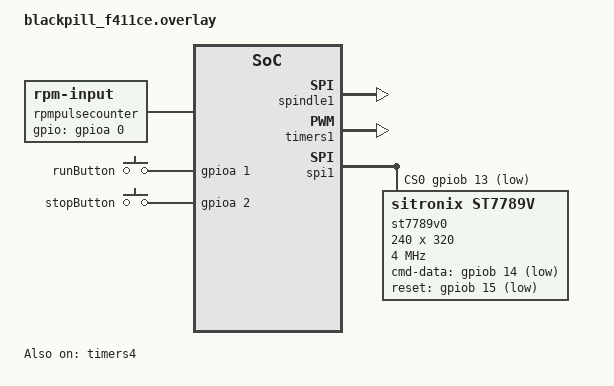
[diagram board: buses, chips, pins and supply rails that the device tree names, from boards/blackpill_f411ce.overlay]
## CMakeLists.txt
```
cmake_minimum_required(VERSION 3.13)
include(${CMAKE_HOME_DIRECTORY}/pico_sdk_import.cmake)

set(PICO_BOARD pico CACHE STRING "Board type")
project(SurfaceGrinderAtomaton C CXX ASM)
pico_sdk_init()

add_compile_options(
    ### Gnu/Clang C Options
    $<$<COMPILE_LANG_AND_ID:C,GNU>:-fdiagnostics-color=always>
    $<$<COMPILE_LANG_AND_ID:C,Clang>:-fcolor-diagnostics>
)

# Create an interface target to set system include directories for Pico SDK libraries
add_library(pico_system_include_dirs INTERFACE)
target_include_directories(pico_system_include_dirs SYSTEM INTERFACE ${PICO_INCLUDE_DIRS})

# Include directories for other Pico SDK libraries
# target_link_libraries(pico_system_include_dirs INTERFACE pico_stdlib hardware_pio hardware_gpio pico_multicore pico_stdio_usb pico_printf pico_async_context_threadsafe_background
# )

target_link_libraries(pico_system_include_dirs INTERFACE pico_stdlib hardware_pio hardware_gpio pico_multicore pico_printf pico_async_context_threadsafe_background
)

# Add subdirectories
add_subdirectory(src)

# Optionally add tests
option(BUILD_TESTS "Build tests" ON)
if (BUILD_TESTS)
    add_subdirectory(tests)
endif()

add_custom_command(
  OUTPUT ${CMAKE_SOURCE_DIR}/compile_commands.json
  COMMAND ${CMAKE_COMMAND} -E copy_if_different
  ${CMAKE_BINARY_DIR}/compile_commands.json
  ${CMAKE_SOURCE_DIR}/compile_commands.json
  DEPENDS ${CMAKE_BINARY_DIR}/compile_commands.json
  COMMENT "Copying compile_commands.json to project root"
)

# Create a custom target that always runs the above command
add_custom_target(copy_compile_commands ALL
  DEPENDS ${CMAKE_SOURCE_DIR}/compile_commands.json
)
```

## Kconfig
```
# menu "scroll to the end for LeadscrewWarrantyVoider ELS Options"
# endmenu
source "Kconfig.zephyr"

menu "LeadscrewWarrantyVoider ELS Options"

choice SPINDLE_ENCODER_TYPE
    prompt "Spindle Encoder Type"
    help
        Select the type of spindle encoder.

        "TEST": No encoder, built in pulse generator emitting test pulses
        "SDEC": SDEC (https://github.com/digiexchris/SDEC)
        "LS7366": LS7366 QEI chip

    default SPINDLE_ENCODER_TYPE_LS7366

    config SPINDLE_ENCODER_TYPE_TEST
        bool "TEST"

    config SPINDLE_ENCODER_TYPE_LS7366
        bool "LS7366"

    config SPINDLE_ENCODER_TYPE_SDEC
        bool "SDEC"

endchoice

menu "Board Specific GPIO Configuration"

# Utilize Zephyr's board definitions directly without redefining them

config BOARD_IS_RPI_PICO
    bool
    default y if BOARD_RPI_PICO
    default n

config BOARD_IS_STM32F411CE_BLACKPILL
    bool
    default y if BOARD_STM32F411CE_BLACKPILL
    default n

if BOARD_IS_RPI_PICO

choice
    prompt "Select GPIO port for encoder CS pin"
    default ENCODER_CS_GPIO_PORT_0

    config ENCODER_CS_GPIO_PORT_0
        bool "GPIO 0"

    config ENCODER_CS_GPIO_PORT_1
        bool "GPIO 1"

    # ... other GPIO options for RPi Pico

endchoice

endif # BOARD_IS_RPI_PICO

if BOARD_IS_STM32F411CE_BLACKPILL

choice
    prompt "Select GPIO Port for encoder CS pin"
    default ENCODER_CS_GPIO_PORT_A
    help
        GPIO port for encoder CS (i.e., on the STM32, if you wanted to choose PA4, select "GPIO Port A" here)

    config ENCODER_CS_GPIO_PORT_A
        bool "GPIO Port A"

    config ENCODER_CS_GPIO_PORT_B
        bool "GPIO Port B"

    config ENCODER_CS_GPIO_PORT_C
        bool "GPIO Port C"

    # ... other GPIO options for STM32F411CE Blackpill

endchoice

endif # BOARD_IS_STM32F411CE_BLACKPILL

endmenu

config ENCODER_CS_GPIO_PIN
    int "GPIO pin for encoder CS"
    default 4
    help
        GPIO pin for encoder CS (i.e., on the STM32, if you wanted to choose P4, select A in
        the port selection above, and type 4 here)

endmenu
```

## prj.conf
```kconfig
CONFIG_LOG=y
CONFIG_LOG_MODE_DEFERRED=y
CONFIG_LOG_RUNTIME_FILTERING=n
CONFIG_LOG_BUFFER_SIZE=2048
CONFIG_LOG_PRINTK=y
CONFIG_LOG_PROCESS_TRIGGER_THRESHOLD=0
CONFIG_CONSOLE=y
CONFIG_SHELL=y
CONFIG_LOG_BACKEND_UART=y
CONFIG_PRINTK=y
CONFIG_DEBUG_INFO=y
CONFIG_LOG_DEFAULT_LEVEL=3
# CONFIG_SENSOR_LOG_LEVEL_DBG=y

CONFIG_REQUIRES_FULL_LIBCPP=y

CONFIG_PWM=y

CONFIG_USB_DEVICE_STACK=y
CONFIG_USB_DEVICE_PRODUCT="Surface Grinder UART"
CONFIG_USB_DEVICE_PID=0x0004
CONFIG_USB_DEVICE_VID=0x2FE3
CONFIG_USB_DEVICE_INITIALIZE_AT_BOOT=n


CONFIG_LOG=y
CONFIG_USBD_LOG_LEVEL_WRN=y
CONFIG_UDC_DRIVER_LOG_LEVEL_WRN=y
CONFIG_USB_CDC_ACM_LOG_LEVEL_WRN=y

CONFIG_SERIAL=y
CONFIG_CONSOLE=y
CONFIG_UART_CONSOLE=y
CONFIG_UART_LINE_CTRL=y

CONFIG_LVGL=y

CONFIG_CPP=y
CONFIG_CPP_EXCEPTIONS=y
# CONFIG_REQUIRES_FULL_LIBCPP=y
CONFIG_STD_CPP14=y
CONFIG_STD_CPP17=y
CONFIG_STD_CPP20=y

CONFIG_NO_OPTIMIZATIONS=y
# CONFIG_EXTRA_EXCEPTION_INFO=y

CONFIG_ASSERT=y 
# CONFIG_NEWLIB_LIBC=y
CONFIG_INIT_STACKS=y
CONFIG_EXCEPTION_STACK_TRACE=y
CONFIG_DEBUG_INFO=y


CONFIG_STDOUT_CONSOLE=y

CONFIG_HEAP_MEM_POOL_SIZE=16384

CONFIG_MAIN_STACK_SIZE=4096
CONFIG_LOG=y
CONFIG_SHELL=y

CONFIG_LVGL=y
CONFIG_LV_Z_MEM_POOL_SIZE=49152
CONFIG_LV_Z_SHELL=y
CONFIG_LV_USE_MONKEY=y

CONFIG_DISPLAY=y
CONFIG_INPUT=y

CONFIG_LV_FONT_MONTSERRAT_12=y
CONFIG_LV_FONT_MONTSERRAT_14=y
CONFIG_LV_FONT_MONTSERRAT_16=y

# Benchmark Demo
CONFIG_LV_USE_FONT_COMPRESSED=y

CONFIG_NO_OPTIMIZATIONS=y
CONFIG_EXTRA_EXCEPTION_INFO=y

CONFIG_LOG_DEFAULT_LEVEL=3
```

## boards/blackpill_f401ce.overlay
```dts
/ {
    aliases {
        qdec0 = &qdec;
    };
};

&timers3 {
    status = "okay";

    qdec: qdec {
        status = "okay";
        pinctrl-0 = <&tim3_ch1_pa6 &tim3_ch2_pa7>;
        pinctrl-names = "default";
        st,input-polarity-inverted;
        st,input-filter-level = <FDIV32_N8>;
        st,counts-per-revolution = <16>;
    };
};

&gpioa {
    status = "okay";

    encoder_button: button {
        gpios = <0 GPIO_ACTIVE_LOW>; /* PA0, Active Low */
        interrupt-parent = <&exti>;
        gpio-hog;
    };
};
```

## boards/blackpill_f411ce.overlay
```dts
/ {
//USART1 = PA9, PA10
//SPI1 NSS = PA4/NC, SCK = PA5, MISO = PA6/NC, DIN = PA7, DC = PB14, RST = PB15, CS = PB13
//PWM PA8
//QDEC = PB6, PB7

    chosen {
	zephyr,display = &st7789v0;
    };

	rpmpulsecounter: rpmpulsecounter {
        compatible = "rpm-input";
        status = "okay";
        gpios = <&gpioa 0 GPIO_ACTIVE_HIGH>; /* PA0, Active High */
    };

	buttons {
		debounce-interval-ms = <50>;
		status = "okay";
		compatible = "gpio-keys";

		runButton: button_1 {
			status = "okay";
			
			gpios = <&gpioa 1 (GPIO_PULL_DOWN | GPIO_ACTIVE_HIGH) >;
			
			zephyr,code = <INPUT_KEY_1>;
			//zephyr,code = <BTN_0>;
		};

		stopButton: button_2 {
			status = "okay";
			
			gpios = <&gpioa 2 (GPIO_PULL_DOWN | GPIO_ACTIVE_HIGH) >;
			
			zephyr,code = <INPUT_KEY_2>;
			//zephyr,code = <BTN_0>;
		};

    };

    spindles {
        compatible = "generic-pwm";
        spindle1: spindle1 {
            
            status = "ok";
            pwms = <&spindlepwm1 1 PWM_HZ(40) PWM_POLARITY_NORMAL>;
            //pwms-names = "spindle1";
        };
    };

    aliases {
        qdec0 = &qdec;
        counter0 = &timers4;
        spindlepwm0 = &spindle1;
        //spindlepwm0 = &servo;
        eeprom0 = &flash0;
        led0 = &user_led;
        display0 = &st7789v0;
		runbutton0 = &runButton;
		stopbutton0 = &stopButton;
    };

};

&timers4 {
    status = "okay";

    counter {
		status = "okay";
	};

    qdec: qdec {
        status = "okay";
        pinctrl-0 = <&tim4_ch1_pb6 &tim4_ch2_pb7>;
        pinctrl-names = "default";
        st,input-polarity-inverted;
        st,input-filter-level = <FDIV32_N8>;
        st,counts-per-revolution = <720>;
    };
};

&flash0 {
	partitions {
		/* Set 3KB of storage at the end of 128KB flash */
		storage_partition: partition@1f400 {
			label = "storage";
			reg = <0x0001f400 DT_SIZE_K(3)>;
		};
	};
};

&timers1 {
	status = "okay";
    st,prescaler = <64>;
	spindlepwm1: pwm {
		status = "okay";
        //pwm-cells = <3>;
        // compatible = "st,stm32-pwm";
		pinctrl-0 = <&tim1_ch1_pa8>;
		pinctrl-names = "default";
        
	};
};
	

//usart tx = a9 default

// &usart1 {
// 	pinctrl-0 = <&usart1_tx_pb6 &usart1_rx_pb7>;
// 	pinctrl-names = "default";
// 	status = "okay";
// 	current-speed = <115200>;
// };

	



&spi1 {
	status = "okay";
	cs-gpios = <&gpiob 13 GPIO_ACTIVE_LOW>;	/* PB13 */

    //pinctrl-0 = <&spi1_sck_pb3 &spi1_mosi_pa7>;

	st7789v0:st7789v@0 { //DIN = PA7 
		compatible = "sitronix,st7789v";
		spi-max-frequency = <4000000>;
		reg = <0>;
		cmd-data-gpios = <&gpiob 14 GPIO_ACTIVE_LOW>; /* PB14 */
		reset-gpios = <&gpiob 15 GPIO_ACTIVE_LOW>; /* PB15 */
		width = <240>;
		height = <320>;
		x-offset = <0>;
		y-offset = <0>;
		vcom = <0x19>;
		gctrl = <0x35>;
		vrhs = <0x12>;
		vdvs = <0x20>;
		mdac = <0x00>;
		gamma = <0x01>;
		colmod = <0x05>;
		lcm = <0x2c>;
		porch-param = [0c 0c 00 33 33];
		cmd2en-param = [5a 69 02 01];
		pwctrl1-param = [a4 a1];
		pvgam-param = [D0 04 0D 11 13 2B 3F 54 4C 18 0D 0B 1F 23];
		nvgam-param = [D0 04 0C 11 13 2C 3F 44 51 2F 1F 1F 20 23];
		ram-param = [00 F0];
		rgb-param = [CD 08 14];
	};
};

//&spi1 {
//	pinctrl-0 = <&spi1_sck_pa5 &spi1_nss_pa4
//		     &spi1_miso_pa6 &spi1_mosi_pa7>;
//	pinctrl-names = "default";
//	status = "okay";
//};
```

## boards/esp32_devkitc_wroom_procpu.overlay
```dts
#include <zephyr/dt-bindings/display/ili9xxx.h>

/ {
	chosen {
		//zephyr,display = &adafruit_2_8_tft_touch_v2_ili9340;
		zephyr,display = &ili9341;
		// zephyr,sdhc = &sdhc1;
	};

	aliases {
		// sdhc0 = &sdhc1;
	};

	mipi_dbi {
		compatible = "zephyr,mipi-dbi-spi";
		dc-gpios = <&gpio0 2 GPIO_ACTIVE_HIGH>;
		// reset-gpios = <&gpio0 18 GPIO_ACTIVE_LOW>;
		spi-dev = <&spi2>;
		write-only;
		#address-cells = <1>;
		#size-cells = <0>;

		ili9341: ili9341@0 {
			compatible = "ilitek,ili9341";
			mipi-max-frequency = <25000000>;
			reg = <0>;
			pixel-format = <ILI9XXX_PIXEL_FORMAT_RGB888>;
			rotation = <90>;
			width = <240>;
			height = <320>;
		};
	};

	// lvgl_pointer {
	// 	compatible = "zephyr,lvgl-pointer-input";
	// 	input = <&ft5336_adafruit_2_8_tft_touch_v2>;
	// 	swap-xy;
	// 	invert-x;
	// 	invert-y;
	// };

    //the shield is
//     #define TFT_MISO 12
// #define TFT_MOSI 13
// #define TFT_SCLK 14
// #define TFT_CS   15  // Chip select control pin
// #define TFT_DC    2  // Data Command control pin
// //#define TFT_RST   -1  // Reset pin (could connect to RST pin)
// #define TFT_RST  -1 12  // Set TFT_RST to -1 if display RESET is connected to ESP32 board RST

// #define TOUCH_CS 33     // Chip select pin (T_CS) of touch screen

// #define TFT_BL   21            // LED back-light control pin
// #define TFT_BACKLIGHT_ON HIGH  // Level to turn ON back-light (HIGH or LOW)

// #define SPI_FREQUENCY  55000000 // STM32 SPI1 only (SPI2 maximum is 27MHz)
// // #define SPI_FREQUENCY  80000000

// // Optional reduced SPI frequency for reading TFT
// #define SPI_READ_FREQUENCY  20000000

// // The XPT2046 requires a lower SPI clock rate of 2.5MHz so we define that here:
// #define SPI_TOUCH_FREQUENCY  2500000

// // The ESP32 has 2 free SPI ports i.e. VSPI and HSPI, the VSPI is the default.
// // If the VSPI port is in use and pins are not accessible (e.g. TTGO T-Beam)
// // then uncomment the following line:
// #define USE_HSPI_PORT

	// adafruit_2_8_tft_touch_v2_mipi_dbi {
	// 	compatible = "zephyr,mipi-dbi-spi";
	// 	spi-dev = <&spi2>;
	// 	dc-gpios = <&gpio0 2 GPIO_ACTIVE_HIGH>;
	// 	write-only;
	// 	#address-cells = <1>;
	// 	#size-cells = <0>;

	// 	adafruit_2_8_tft_touch_v2_ili9340: ili9340@0 {
	// 		compatible = "ilitek,ili9340";
	// 		mipi-max-frequency = <15151515>;
	// 		reg = <0>;
	// 		width = <240>;
	// 		height = <320>;
	// 		pixel-format = <ILI9XXX_PIXEL_FORMAT_RGB888>;
	// 		rotation = <90>;
	// 		frmctr1 = [00 18];
	// 		pwctrl1 = [23 00];
	// 		vmctrl1 = [3e 28];
	// 		vmctrl2 = [86];
	// 		pgamctrl = [0f 31 2b 0c 0e 08 4e f1 37 07 10 03 0e 09 00];
	// 		ngamctrl = [00 0e 14 03 11 07 31 c1 48 08 0f 0c 31 36 0f];
	// 	};
	// };
};

&gpio0 {
    status = "okay";
    tft_backlight: tft-backlight {
        gpios = <21 (GPIO_ACTIVE_HIGH | GPIO_OPEN_DRAIN | GPIO_PULL_UP)>;
        output-low;
        gpio-hog;
    };
};

&gpio0 {
	status = "okay";

	/* FIXME: should be part of the display node */
	lcd-backlight {
		gpio-hog;
		gpios = <5 GPIO_ACTIVE_HIGH>;
		output-low;
	};
};

&spi2 {
	#address-cells = <1>;
	#size-cells = <0>;
	status = "okay";
	pinctrl-0 = <&spim2_default>;
	pinctrl-names = "default";
};

// &spi2 {
// 	status = "okay";
// 	cs-gpios = <&gpio0 15 GPIO_ACTIVE_LOW>,	/* D10 */
// 		   <&gpio0 33 GPIO_ACTIVE_LOW>;	/* D04 */

// 	adafruit_2_8_tft_touch_v2_sdhc: sdhc@1 {
// 		compatible = "zephyr,sdhc-spi-slot";
// 		reg = <1>;
// 		status = "okay";
// 		spi-max-frequency = <24000000>;
// 		mmc {
// 			compatible = "zephyr,sdmmc-disk";
// 			status = "okay";
// 		};
// 	};
// };

// &sdhc {
// 	sdhc1: sdhc@1 {
// 		status = "okay";

// 		pinctrl-0 = <&sdhc0_default>;
// 		pinctrl-names = "default";
// 		power-delay-ms = <100>;
// 		max-bus-freq = <52000000>;
// 		bus-width = <4>;

// 		clk-pin = <14>;
// 		cmd-pin = <15>;
// 		d0-pin = <2>;
// 		d1-pin = <4>;
// 		d2-pin = <12>;
// 		d3-pin = <13>;

// 		mmc {
// 			compatible = "zephyr,sdmmc-disk";
// 			status = "okay";
// 		};
// 	};
// };


    // &spim2_default { //default esp32
    //     group1 {
    //         pinmux = <SPIM2_MISO_GPIO16>,
    //             <SPIM2_SCLK_GPIO14>,
    //             <SPIM2_CSEL_GPIO15>;
    //     };
    //     group2 {
    //         pinmux = <SPIM2_MOSI_GPIO13>;
    //         output-low;
    //     };
    // };

// &i2c0 {
// 	ft5336_adafruit_2_8_tft_touch_v2: ft5336@38 {
// 		compatible = "focaltech,ft5336";
// 		reg = <0x38>;
// 		/* Uncomment if IRQ line is available (requires to solder jumper) */
// 		/* int-gpios = <&arduino_header 13 GPIO_ACTIVE_LOW>; */ /* D7 */
// 	};
// };
```

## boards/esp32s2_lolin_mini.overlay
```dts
/*
 * Pins defined in esp32-arduino for the lotlin-s2-mini

 
// Default USB Settings
#define USB_VID          0x303a
#define USB_PID          0x80C2
#define USB_MANUFACTURER "WEMOS.CC"
#define USB_PRODUCT      "LOLIN-S2-MINI"
#define USB_SERIAL       "0"

// Default USB FirmwareMSC Settings
#define USB_FW_MSC_VENDOR_ID        "ESP32-S2"      //max 8 chars
#define USB_FW_MSC_PRODUCT_ID       "Firmware MSC"  //max 16 chars
#define USB_FW_MSC_PRODUCT_REVISION "1.23"          //max 4 chars
#define USB_FW_MSC_VOLUME_NAME      "S2-Firmware"   //max 11 chars
#define USB_FW_MSC_SERIAL_NUMBER    0x00000000

static const uint8_t LED_BUILTIN = 15;
#define BUILTIN_LED LED_BUILTIN  // backward compatibility
#define LED_BUILTIN LED_BUILTIN  // allow testing #ifdef LED_BUILTIN

static const uint8_t TX = 39;
static const uint8_t RX = 37;

static const uint8_t SDA = 33;
static const uint8_t SCL = 35;

static const uint8_t SS = 12;
static const uint8_t MOSI = 11;
static const uint8_t MISO = 9;
static const uint8_t SCK = 7;

static const uint8_t A0 = 1;
static const uint8_t A1 = 2;
static const uint8_t A2 = 3;
static const uint8_t A3 = 4;
static const uint8_t A4 = 5;
static const uint8_t A5 = 6;
static const uint8_t A6 = 7;
static const uint8_t A7 = 8;
static const uint8_t A8 = 9;
static const uint8_t A9 = 10;
static const uint8_t A10 = 11;
static const uint8_t A11 = 12;
static const uint8_t A12 = 13;
static const uint8_t A13 = 14;
static const uint8_t A14 = 15;
static const uint8_t A15 = 16;
static const uint8_t A16 = 17;
static const uint8_t A17 = 18;
static const uint8_t A18 = 19;
static const uint8_t A19 = 20;

static const uint8_t T1 = 1;
static const uint8_t T2 = 2;
static const uint8_t T3 = 3;
static const uint8_t T4 = 4;
static const uint8_t T5 = 5;
static const uint8_t T6 = 6;
static const uint8_t T7 = 7;
static const uint8_t T8 = 8;
static const uint8_t T9 = 9;
static const uint8_t T10 = 10;
static const uint8_t T11 = 11;
static const uint8_t T12 = 12;
static const uint8_t T13 = 13;
static const uint8_t T14 = 14;

static const uint8_t DAC1 = 17;
static const uint8_t DAC2 = 18;
 */

/ {
	aliases {
		qdec0 = &pcnt;
	};


};

&pinctrl {
	pcnt_default: pcnt_default {
		group1 {
			pinmux = <PCNT0_CH0SIG_GPIO35>,
				<PCNT0_CH0CTRL_GPIO36>;
			bias-pull-up;
		};
	};
};

&pcnt {
	pinctrl-0 = <&pcnt_default>;
	pinctrl-names = "default";
	status = "okay";
	#address-cells = <1>;
	#size-cells = <0>;
	unit0@0 {
		reg = <0>;
		#address-cells = <1>;
		#size-cells = <0>;
		filter = <100>;
		channelA@0 {
			reg = <0>;
			sig-pos-mode = <2>;
			sig-neg-mode = <1>;
			ctrl-h-mode = <0>;
			ctrl-l-mode = <1>;
		};
	};
};


/ {
	chosen {
		zephyr,display = &st7789v0;
	};
};


/* arduino defaults for the st7789v 
ESP32S2 Arduino function
9 D8 ST7789V Reset
10 D9 ST7789V DC
11 D10 SPI SS
12 D11 SPI MOSI
13 D12 SPI MISO
14 D13 SPI SCK

OR
1 D2 DC
2 D4 Reset
16 D15 CS
19 D18 SCK
24 D23 SDA


working on esp32s2
#define TFT_CS   16  // Chip select control pin
#define TFT_DC    10  // Data Command control pin
#define TFT_RST   9  // Reset pin (could connect to RST pin)
#define TFT_MOSI 11  // Data out
#define TFT_SCLK 13  // Clock out


*/
&spi2 {
    status = "okay";
    cs-gpios = <&gpio 16 GPIO_ACTIVE_LOW>;    /* Example GPIO number for CS, originally GPIO 15 if using default */

	st7789v0:st7789v@0 { //DIN = 13  SCK = 14
		compatible = "sitronix,st7789v";
		spi-max-frequency = <500000>;
		reg = <0>;
        cmd-data-gpios = <&gpio 10 GPIO_ACTIVE_LOW>;  /* Example GPIO number for D/C, GPIO 16 in this case */
        reset-gpios = <&gpio 9 GPIO_ACTIVE_LOW>;    /* Example GPIO number for Reset, GPIO 14 in this case */
        width = <240>;
		height = <320>;
		x-offset = <0>;
		y-offset = <0>;
		vcom = <0x19>;
		gctrl = <0x35>;
		vrhs = <0x12>;
		vdvs = <0x20>;
		mdac = <0x00>;
		gamma = <0x01>;
		colmod = <0x05>;
		lcm = <0x2c>;
		porch-param = [0c 0c 00 33 33];
		cmd2en-param = [5a 69 02 01];
		pwctrl1-param = [a4 a1];
		pvgam-param = [D0 04 0D 11 13 2B 3F 54 4C 18 0D 0B 1F 23];
		nvgam-param = [D0 04 0C 11 13 2C 3F 44 51 2F 1F 1F 20 23];
		ram-param = [00 F0];
		rgb-param = [CD 08 14];
    };
};
```

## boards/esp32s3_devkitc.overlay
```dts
/*
 * Pins defined in esp32-arduino for the lotlin-s2-mini

 
// Default USB Settings
#define USB_VID          0x303a
#define USB_PID          0x80C2
#define USB_MANUFACTURER "WEMOS.CC"
#define USB_PRODUCT      "LOLIN-S2-MINI"
#define USB_SERIAL       "0"

// Default USB FirmwareMSC Settings
#define USB_FW_MSC_VENDOR_ID        "ESP32-S2"      //max 8 chars
#define USB_FW_MSC_PRODUCT_ID       "Firmware MSC"  //max 16 chars
#define USB_FW_MSC_PRODUCT_REVISION "1.23"          //max 4 chars
#define USB_FW_MSC_VOLUME_NAME      "S2-Firmware"   //max 11 chars
#define USB_FW_MSC_SERIAL_NUMBER    0x00000000

static const uint8_t LED_BUILTIN = 15;
#define BUILTIN_LED LED_BUILTIN  // backward compatibility
#define LED_BUILTIN LED_BUILTIN  // allow testing #ifdef LED_BUILTIN

static const uint8_t TX = 39;
static const uint8_t RX = 37;

static const uint8_t SDA = 33;
static const uint8_t SCL = 35;

static const uint8_t SS = 12;
static const uint8_t MOSI = 11;
static const uint8_t MISO = 9;
static const uint8_t SCK = 7;

static const uint8_t A0 = 1;
static const uint8_t A1 = 2;
static const uint8_t A2 = 3;
static const uint8_t A3 = 4;
static const uint8_t A4 = 5;
static const uint8_t A5 = 6;
static const uint8_t A6 = 7;
static const uint8_t A7 = 8;
static const uint8_t A8 = 9;
static const uint8_t A9 = 10;
static const uint8_t A10 = 11;
static const uint8_t A11 = 12;
static const uint8_t A12 = 13;
static const uint8_t A13 = 14;
static const uint8_t A14 = 15;
static const uint8_t A15 = 16;
static const uint8_t A16 = 17;
static const uint8_t A17 = 18;
static const uint8_t A18 = 19;
static const uint8_t A19 = 20;

static const uint8_t T1 = 1;
static const uint8_t T2 = 2;
static const uint8_t T3 = 3;
static const uint8_t T4 = 4;
static const uint8_t T5 = 5;
static const uint8_t T6 = 6;
static const uint8_t T7 = 7;
static const uint8_t T8 = 8;
static const uint8_t T9 = 9;
static const uint8_t T10 = 10;
static const uint8_t T11 = 11;
static const uint8_t T12 = 12;
static const uint8_t T13 = 13;
static const uint8_t T14 = 14;

static const uint8_t DAC1 = 17;
static const uint8_t DAC2 = 18;
 */

/ {
	aliases {
		qdec0 = &pcnt;
        display0 = &st7789v0;
	};


};

&pinctrl {
	pcnt_default: pcnt_default {
		group1 {
			pinmux = <PCNT0_CH0SIG_GPIO35>,
				<PCNT0_CH0CTRL_GPIO36>;
			bias-pull-up;
		};

		group2 {
			pinmux = <PCNT0_CH1SIG_GPIO34>,
				<PCNT0_CH1CTRL_GPIO37>;
			bias-pull-up;
		};
	};
};

&pcnt {
	pinctrl-0 = <&pcnt_default>;
	pinctrl-names = "default";
	status = "okay";
	#address-cells = <1>;
	#size-cells = <0>;
	unit0@0 {
		reg = <0>;
		#address-cells = <1>;
		#size-cells = <0>;
		filter = <100>;
		channelA@0 {
			reg = <0>;
			sig-pos-mode = <2>;
			sig-neg-mode = <1>;
			ctrl-h-mode = <0>;
			ctrl-l-mode = <1>;
		};
	};
};


/ {
	chosen {
		zephyr,display = &st7789v0;
	};
};


/* arduino defaults for the st7789v 
ESP32S2 Arduino function
9 D8 ST7789V Reset
10 D9 ST7789V DC
11 D10 SPI SS
12 D11 SPI MOSI
13 D12 SPI MISO
14 D13 SPI SCK

OR
1 D2 DC
2 D4 Reset
16 D15 CS
19 D18 SCK
24 D23 SDA


working on esp32s2
#define TFT_CS   16  // Chip select control pin
#define TFT_DC    10  // Data Command control pin
#define TFT_RST   9  // Reset pin (could connect to RST pin)
#define TFT_MOSI 11  // Data out
#define TFT_SCLK 13  // Clock out


*/
&spi2 {
    status = "okay";
    cs-gpios = <&gpio 16 GPIO_ACTIVE_LOW>;    /* Example GPIO number for CS, originally GPIO 15 if using default */
    pinctrl-0 = <&spim2_default>;
	st7789v0:st7789v@0 { //DIN = 13  SCK = 14
		compatible = "sitronix,st7789v";
		spi-max-frequency = <500000>;
		reg = <0>;
        cmd-data-gpios = <&gpio 10 GPIO_ACTIVE_LOW>;  /* Example GPIO number for D/C, GPIO 16 in this case */
        reset-gpios = <&gpio 9 GPIO_ACTIVE_LOW>;    /* Example GPIO number for Reset, GPIO 14 in this case */
        width = <240>;
		height = <320>;
		x-offset = <0>;
		y-offset = <0>;
		vcom = <0x19>;
		gctrl = <0x35>;
		vrhs = <0x12>;
		vdvs = <0x20>;
		mdac = <0x00>;
		gamma = <0x01>;
		colmod = <0x05>;
		lcm = <0x2c>;
		porch-param = [0c 0c 00 33 33];
		cmd2en-param = [5a 69 02 01];
		pwctrl1-param = [a4 a1];
		pvgam-param = [D0 04 0D 11 13 2B 3F 54 4C 18 0D 0B 1F 23];
		nvgam-param = [D0 04 0C 11 13 2C 3F 44 51 2F 1F 1F 20 23];
		ram-param = [00 F0];
		rgb-param = [CD 08 14];
    };
};
```

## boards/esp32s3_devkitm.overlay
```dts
/ {
	aliases {
		qdec0 = &pcnt;
        display0 = &st7789v0;
	};


};

&pinctrl {
	pcnt_default: pcnt_default {
		group1 {
			pinmux = <PCNT0_CH0SIG_GPIO35>,
				<PCNT0_CH0CTRL_GPIO36>;
			bias-pull-up;
		};

		group2 {
			pinmux = <PCNT0_CH1SIG_GPIO34>,
				<PCNT0_CH1CTRL_GPIO37>;
			bias-pull-up;
		};
	};
};

&pcnt {
	pinctrl-0 = <&pcnt_default>;
	pinctrl-names = "default";
	status = "okay";
	#address-cells = <1>;
	#size-cells = <0>;
	unit0@0 {
		reg = <0>;
		#address-cells = <1>;
		#size-cells = <0>;
		filter = <100>;
		channelA@0 {
			reg = <0>;
			sig-pos-mode = <2>;
			sig-neg-mode = <1>;
			ctrl-h-mode = <0>;
			ctrl-l-mode = <1>;
		};
	};
};


/ {
	chosen {
		zephyr,display = &st7789v0;
	};
};


/* arduino defaults for the st7789v 
ESP32S2 Arduino function
9 D8 ST7789V Reset
10 D9 ST7789V DC
11 D10 SPI SS
12 D11 SPI MOSI
13 D12 SPI MISO
14 D13 SPI SCK

OR
1 D2 DC
2 D4 Reset
16 D15 CS
19 D18 SCK
24 D23 SDA


working on esp32s2
#define TFT_CS   16  // Chip select control pin
#define TFT_DC    10  // Data Command control pin
#define TFT_RST   9  // Reset pin (could connect to RST pin)
#define TFT_MOSI 11  // Data out
#define TFT_SCLK 13  // Clock out


*/
&spi2 {
    status = "okay";
    cs-gpios = <&gpio 16 GPIO_ACTIVE_LOW>;    /* Example GPIO number for CS, originally GPIO 15 if using default */
    pinctrl-0 = <&spim2_default>;
	st7789v0:st7789v@0 { //DIN = 13  SCK = 14
		compatible = "sitronix,st7789v";
		spi-max-frequency = <500000>;
		reg = <0>;
        cmd-data-gpios = <&gpio 10 GPIO_ACTIVE_LOW>;  /* Example GPIO number for D/C, GPIO 16 in this case */
        reset-gpios = <&gpio 9 GPIO_ACTIVE_LOW>;    /* Example GPIO number for Reset, GPIO 14 in this case */
        width = <240>;
		height = <320>;
		x-offset = <0>;
		y-offset = <0>;
		vcom = <0x19>;
		gctrl = <0x35>;
		vrhs = <0x12>;
		vdvs = <0x20>;
		mdac = <0x00>;
		gamma = <0x01>;
		colmod = <0x05>;
		lcm = <0x2c>;
		porch-param = [0c 0c 00 33 33];
		cmd2en-param = [5a 69 02 01];
		pwctrl1-param = [a4 a1];
		pvgam-param = [D0 04 0D 11 13 2B 3F 54 4C 18 0D 0B 1F 23];
		nvgam-param = [D0 04 0C 11 13 2C 3F 44 51 2F 1F 1F 20 23];
		ram-param = [00 F0];
		rgb-param = [CD 08 14];
    };
};
```

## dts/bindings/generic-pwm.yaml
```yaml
# Copyright (c) 2023 Libre Solar Technologies GmbH
# SPDX-License-Identifier: Apache-2.0

description: PWM output

compatible: "generic-pwm"

child-binding:
  description: PWM child node
  properties:
    pwms:
      required: true
      type: phandle-array
      description: |
        Reference to a PWM instance.

pwms-cells:
  - channel
  - period
  - flags
```

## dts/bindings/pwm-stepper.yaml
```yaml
# dts/bindings/stepper_motor.yaml
description: Stepper motor configuration
compatible: "VoidItsWarranty,stepper-motor"

properties:
  step-gpios:
    required: true
    type: phandle-array
    description: GPIO device for direction signal
  dir-gpios:
    required: true
    type: phandle-array
    description: GPIO device for direction signal
  enable-gpios:
    required: true
    type: phandle-array
    description: GPIO device for enable signal
  max-speed:
    required: true
    type: int
    description: Maximum speed in steps per second
  max-acceleration:
    required: true
    type: int
    description: Maximum acceleration in steps per second squared
  max-deceleration:
    required: true
    type: int
    description: Maximum deceleration in steps per second squared
  enable-polarity:
    required: true
    type: int
    description: Polarity of the enable signal
  dir-polarity:
    required: true
    type: int
    description: Polarity of the direction signal
```

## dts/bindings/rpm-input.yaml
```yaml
# Copyright (c) 2023 Libre Solar Technologies GmbH
# SPDX-License-Identifier: Apache-2.0

description: GPIO pin to accept RPM input pulses

compatible: "rpm-input"

properties:
  gpios:
    type: phandle-array
    required: true
    description: |
      The GPIO connected to the 3v3 RPM pulse.
```

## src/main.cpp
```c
#include "Display.hpp"
#include "Enum.hpp"
#include "config.hpp"
#include <zephyr/kernel.h>
#include <zephyr/logging/log.h>

#include "Motion/XAxis.hpp"
#include <zephyr/drivers/uart.h>
#include <zephyr/usb/usb_device.h>
#include <zephyr/usb/usbd.h>

LOG_MODULE_REGISTER(main);

const Display *myDisplay;
const XAxis *myXAxis;

BUILD_ASSERT(DT_NODE_HAS_COMPAT(DT_CHOSEN(zephyr_console), zephyr_cdc_acm_uart),
			 "Console device is not ACM CDC UART device");

int main(void)
{

	const struct device *const dev = DEVICE_DT_GET(DT_CHOSEN(zephyr_console));
	uint32_t dtr = 0;

	if (usb_enable(NULL))
	{
		return 0;
	}

	/* Poll if the DTR flag was set */
	while (!dtr)
	{
		uart_line_ctrl_get(dev, UART_LINE_CTRL_DTR, &dtr);
		/* Give CPU resources to low priority threads. */
		k_sleep(K_MSEC(100));
	}

	// while (1)
	// {
	// 	printk("Hello World! %s\n", CONFIG_ARCH);
	// 	k_sleep(K_SECONDS(1));
	// }

	LOG_INF("Booting %s\n", CONFIG_BOARD);

	myXAxis = new XAxis();

	LOG_INF("XAxis initialized\n");

	myDisplay = new Display();

	LOG_INF("Display initialized\n");

	LOG_INF("Boot Complete\n");

	while (1)
	{
		k_sleep(K_FOREVER);
	}
}
```

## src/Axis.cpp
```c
#include "Axis.hpp"
#include "Enum.hpp"
#include "FreeRTOS.h"
#include "config.hpp"
#include "pico/mutex.h"
#include "pico/stdlib.h"
#include "portmacro.h"
#include <cmath>
#include <semphr.h>
#include <stdio.h>

Axis::Axis(Stepper *aStepper, AxisLabel anAxisLabel)
{
	myStepper = aStepper;
	myAxisLabel = anAxisLabel;

	myCommandQueue = xQueueCreate(10, sizeof(AxisCommand *));
	myStateMutex = xSemaphoreCreateMutex();
	myQueueIsProcessing = xSemaphoreCreateBinary();
	myDirectionMutex = xSemaphoreCreateMutex();
	configASSERT(myStateMutex);
	configASSERT(myDirectionMutex);
	configASSERT(myQueueIsProcessing);

	BaseType_t status = xTaskCreate(privProcessCommandQueue, "AxisCommandThread", 2048, this, 1, &myCommandQueueTask);

	configASSERT(status == pdPASS);

	xSemaphoreGive(myQueueIsProcessing); // let the first consumer add something to the empty queue
	xSemaphoreGive(myStateMutex);
	xSemaphoreGive(myDirectionMutex);
}

int32_t Axis::GetPosition()
{
	return myPosition;
}

void Axis::SetMinStop(int32_t aMinStop)
{
	myMinStop = aMinStop;
}

int32_t Axis::GetMinStop()
{
	return myMinStop;
}

void Axis::SetMaxStop(int32_t aMaxStop)
{
	myMaxStop = aMaxStop;
}

int32_t Axis::GetMaxStop()
{
	return myMaxStop;
}

void Axis::SetPosition(int32_t aPosition)
{
	// myStepper->SetPosition(aPosition);
}

AxisDirection Axis::GetDirection()
{
	AxisDirection direction;
	xSemaphoreTake(myDirectionMutex, portMAX_DELAY);

	direction = myDirection;
	xSemaphoreGive(myDirectionMutex);
	return direction;
}

AxisState Axis::GetState()
{
	uint32_t timeout = 10 * portTICK_PERIOD_MS;
	AxisState state;
	if (xSemaphoreTake(myStateMutex, timeout) != pdPASS)
	{
		return AxisState::LOCKED;
	}
	state = myState;
	xSemaphoreGive(myStateMutex);
	return myState;
}

AxisStop Axis::IsAtStop()
{
	if (myPosition <= myMinStop)
	{
		return AxisStop::MIN;
	}
	else if (myPosition >= myMaxStop)
	{
		return AxisStop::MAX;
	}
	else
	{
		return AxisStop::NEITHER;
	}
}

AxisDirection Axis::GetPreviousDirection()
{
	AxisDirection direction;
	xSemaphoreTake(myDirectionMutex, portMAX_DELAY);
	direction = myPreviousDirection;
	xSemaphoreGive(myDirectionMutex);
	return direction;
}

void Axis::Move(uint32_t aDistance, uint16_t aSpeed)
{
	AxisMoveCommand *cmd = new AxisMoveCommand(aDistance, aSpeed);

	if (xQueueSend(myCommandQueue, &cmd, portMAX_DELAY) != pdPASS)
	{
		printf("Failed to send move command to queue\n");
	}

	if (PRINTF_AXIS_DEBUG)
	{
		printf("Axis %d: Move %d queued\n", myAxisLabel, aDistance);
	}
}

void Axis::SetDirection(AxisDirection aDirection)
{
	AxisSetDirectionCommand *cmd = new AxisSetDirectionCommand(aDirection);
	if (xQueueSend(myCommandQueue, &cmd, portMAX_DELAY) != pdPASS)
	{
		printf("Failed to send set direction command to queue\n");
	}
	if (PRINTF_AXIS_DEBUG)
	{
		printf("Axis %d: SetDirection %d queued\n", myAxisLabel, aDirection);
	}
}

uint8_t Axis::GetQueueSize()
{
	return uxQueueMessagesWaiting(myCommandQueue);
}

bool Axis::IsMovementComplete(TickType_t aTimeout)
{
	if (uxQueueMessagesWaiting(myCommandQueue) == 0)
	{
		return true;
	}

	BaseType_t status = xQueueSemaphoreTake(myQueueIsProcessing, aTimeout);

	if (status == pdTRUE)
	{
		return true;
	}
	else
	{
		return false;
	}
}

void Axis::privProcessCommandQueue(void *pvParameters)
{
	printf("Axis Command Thread Started\n");
	Axis *axis = static_cast<Axis *>(pvParameters);
	while (true)
	{
		AxisCommand *command;
		if (xQueueReceive(axis->myCommandQueue, &command, portMAX_DELAY) == pdTRUE)
		{
			switch (command->cmd)
			{
			case AxisCommandName::MOVE:
			{
				AxisMoveCommand *moveCommand = static_cast<AxisMoveCommand *>(command);
				axis->privMove(moveCommand->distance, moveCommand->speed);
				break;
			}
			case AxisCommandName::SET_DIRECTION:
			{
				AxisSetDirectionCommand *setDirectionCommand = static_cast<AxisSetDirectionCommand *>(command);
				axis->privSetDirection(setDirectionCommand->direction);
				break;
			}
			case AxisCommandName::WAIT:
			{
				xSemaphoreTake(axis->myStateMutex, portMAX_DELAY);
				axis->myState = AxisState::WAITING;
				xSemaphoreGive(axis->myStateMutex);
				AxisWaitCommand *waitCommand = static_cast<AxisWaitCommand *>(command);
				float period = portTICK_PERIOD_MS;
				if (period == 0)
				{
					panic("Period is 0");
				}
				const unsigned int timeout = waitCommand->durationMs / period;
				vTaskDelay(timeout == 0 ? 1 : timeout);

				xSemaphoreTake(axis->myStateMutex, portMAX_DELAY);
				axis->myState = AxisState::STOPPED;
				xSemaphoreGive(axis->myStateMutex);
				break;
			}
			default:
				panic("Unknown command");
				// configASSERT(false);
			}

			delete command; // Free the command after processing
		}

		// queue is empty, inform whoever cares
		if (uxQueueMessagesWaiting(axis->myCommandQueue) == 0)
		{
			xSemaphoreGive(axis->myQueueIsProcessing);
		}

		PrintStackHighWaterMark(axis->myCommandQueueTask);
	}
}

void Axis::privMove(uint32_t aDistance, uint16_t aSpeed)
{
	xSemaphoreTake(myStateMutex, portMAX_DELAY);
	myState = AxisState::MOVING;
	xSemaphoreGive(myStateMutex);

	if (aDistance == 0)
	{
		xSemaphoreTake(myStateMutex, portMAX_DELAY);
		myState = AxisState::STOPPED;
		xSemaphoreGive(myStateMutex);
		return;
	}

	int targetPosition = myPosition + aDistance;
	xSemaphoreTake(myDirectionMutex, portMAX_DELAY);
	AxisDirection aDirection = myDirection;
	xSemaphoreGive(myDirectionMutex);
	if (aDirection == AxisDirection::POS && targetPosition > myMaxStop)
	{
		aDistance = myMaxStop - myPosition;
	}
	else if (aDirection == AxisDirection::NEG && targetPosition < myMinStop)
	{
		aDistance = myMinStop - myPosition;
	}

	myStepper->Move(aDistance, aSpeed);

	if (aDirection == AxisDirection::POS)
	{
		myPosition += aDistance;
	}
	else
	{
		myPosition -= aDistance;
	}

	xSemaphoreTake(myStateMutex, portMAX_DELAY);
	myState = AxisState::STOPPED;
	xSemaphoreGive(myStateMutex);
}

void Axis::Wait(int32_t aDurationMs)
{
	AxisWaitCommand *cmd = new AxisWaitCommand(aDurationMs);
	xQueueSend(myCommandQueue, &cmd, portMAX_DELAY);
	if (PRINTF_AXIS_DEBUG)
	{
		printf("Axis %d: Wait %d queued\n", myAxisLabel, aDurationMs);
	}
}

void Axis::privSetDirection(AxisDirection aDirection)
{
	xSemaphoreTake(myDirectionMutex, portMAX_DELAY);
	if (myDirection != aDirection)
	{
		myPreviousDirection = myDirection;
		myDirection = aDirection;
		myStepper->SetDirection((bool)myDirection);
		vTaskDelay(STEPPER_DIRECTION_CHANGE_DELAY_MS * portTICK_PERIOD_MS);
	}
	xSemaphoreGive(myDirectionMutex);
}
```

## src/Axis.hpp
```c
#pragma once

#include "Enum.hpp"
#include "drivers/Motor/Stepper.hpp"
#include <FreeRTOS.h>
#include <queue.h>
#include <semphr.h>
#include <task.h>

#include <config.hpp>

#include "pico/stdlib.h" // IWYU pragma: keep
#include "portmacro.h"
#include <string>

/**
 * @brief Enum class for the direction of the Z travel
 * POS = move the Z axis in the positive direction
 * NEG = move the Z axis in the negative direction
 * ignored for MANUAL
 */
enum class AxisDirection
{
	POS = true,
	NEG = false,
	ERROR = -1 // locked by mutex
};

inline std::string AxisDirectionToString(AxisDirection aDirection)
{
	switch (aDirection)
	{
	case AxisDirection::POS:
		return "+";
	case AxisDirection::NEG:
		return "-";
	case AxisDirection::ERROR:
		return "E";
	default:
		return "UNKNOWN";
	}
}

enum class AxisStop
{
	MIN = -1,
	MAX = 1,
	NEITHER = 0
};

enum class AxisCommandName
{
	MOVE,
	SET_DIRECTION,
	WAIT
};

struct AxisCommand
{
	AxisCommandName cmd;
};

struct AxisMoveCommand : public AxisCommand
{
	AxisMoveCommand(int32_t aDistance, uint16_t aSpeed) : distance(aDistance), speed(aSpeed)
	{
		cmd = AxisCommandName::MOVE;
	}
	int32_t distance;
	uint16_t speed;
};

struct AxisWaitCommand : AxisCommand
{
	AxisWaitCommand(int32_t aDurationMs = 1) : durationMs(aDurationMs)
	{
		cmd = AxisCommandName::WAIT;
	}
	int32_t durationMs;
};

struct AxisSetDirectionCommand : AxisCommand
{
	AxisSetDirectionCommand(AxisDirection aDirection) : direction(aDirection)
	{
		cmd = AxisCommandName::SET_DIRECTION;
	}
	AxisDirection direction;
};

enum class AxisState
{
	STOPPED,
	MOVING,
	WAITING,
	LOCKED // locked by mutex
};

class Axis
{
public:
	Axis(Stepper *aStepper, AxisLabel anAxisLabel);
	void SetPosition(int32_t aPosition);
	int32_t GetPosition();
	void SetMinStop(int32_t aMinStop);
	int32_t GetMinStop();
	void SetMaxStop(int32_t aMaxStop);
	int32_t GetMaxStop();
	void Move(uint32_t aDistance, uint16_t aSpeed);
	void SetDirection(AxisDirection aDirection);
	void Wait(int32_t aDurationMs);
	AxisState GetState();
	AxisDirection GetDirection();
	AxisStop IsAtStop();
	AxisDirection GetPreviousDirection();

	bool IsMovementComplete(TickType_t aTimeout = portMAX_DELAY);

	uint8_t GetQueueSize();

	/**
	* @brief Stop the axis from moving
	todo: implement this in the stepper
	it needs to stop generating any more steps, calculate how many steps are required to decelerate to a stop, and do it.
	 */
	void Stop();

	/**
	 * @brief Emergency stop the axis from moving
	 * todo: implement this in the stepper
	 * it needs to stop generating any more steps,
	 * and disable the driver. This will likely result in lost stops.
	 */
	void EStop();

private:
	TaskHandle_t myCommandQueueTask;
	SemaphoreHandle_t myStateMutex;
	SemaphoreHandle_t myDirectionMutex;
	SemaphoreHandle_t myQueueIsProcessing;
	AxisDirection myPreviousDirection = AxisDirection::POS;
	AxisDirection myDirection = AxisDirection::POS;
	AxisState myState = AxisState::STOPPED;
	Stepper *myStepper;
	int32_t myPosition = 0;
	int32_t myMinStop = 0;
	int32_t myMaxStop = 0;
	QueueHandle_t myCommandQueue;
	AxisLabel myAxisLabel;

	static void privProcessCommandQueue(void *pvParameters);
	void privMove(uint32_t aDistance, uint16_t aSpeed);
	void privSetDirection(AxisDirection aDirection);
};
```

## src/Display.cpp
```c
#include "Display.hpp"
#include <lvgl.h>
#include <zephyr/device.h>
#include <zephyr/drivers/display.h>
#include <zephyr/kernel.h>
#include <zephyr/logging/log.h>

LOG_MODULE_REGISTER(Display);

Display::Display()
{

	myDisplayDevice = DEVICE_DT_GET(DT_CHOSEN(zephyr_display));
	if (!device_is_ready(myDisplayDevice))
	{
		printf("Device %s not ready\n", myDisplayDevice->name);
		k_oops();
	}

	BuildMainView();

	lv_task_handler();

	if (display_blanking_off(myDisplayDevice) != 0)
	{
		LOG_ERR("Failed to turn the display blanking off");
		k_oops();
		return;
	}
}

void Display::BuildMainView()
{
	/*Create a container with ROW flex direction*/
	lv_obj_t *cont_row = lv_obj_create(lv_scr_act());
	lv_obj_set_size(cont_row, 300, 75);
	lv_obj_align(cont_row, LV_ALIGN_TOP_MID, 0, 5);
	// lv_obj_set_flex_flow(cont_row, LV_FLEX_FLOW_ROW);

	// /*Create a container with COLUMN flex direction*/
	// lv_obj_t *cont_col = lv_obj_create(lv_scr_act());
	// lv_obj_set_size(cont_col, 200, 150);
	// lv_obj_align_to(cont_col, cont_row, LV_ALIGN_OUT_BOTTOM_MID, 0, 5);
	// lv_obj_set_flex_flow(cont_col, LV_FLEX_FLOW_COLUMN);

	// uint32_t i;
	// for (i = 0; i < 10; i++)
	// {
	// 	lv_obj_t *obj;
	// 	lv_obj_t *label;

	// 	/*Add items to the row*/
	// 	obj = lv_btn_create(cont_row);
	// 	lv_obj_set_size(obj, 100, LV_PCT(100));

	// 	label = lv_label_create(obj);
	// 	lv_label_set_text_fmt(label, "Item: %" LV_PRIu32, i);
	// 	lv_obj_center(label);

	// 	/*Add items to the column*/
	// 	obj = lv_btn_create(cont_col);
	// 	lv_obj_set_size(obj, LV_PCT(100), LV_SIZE_CONTENT);

	// 	label = lv_label_create(obj);
	// 	lv_label_set_text_fmt(label, "Item: %" LV_PRIu32, i);
	// 	lv_obj_center(label);
	// }
}

void Display::DisplayUpdateThread(void *arg)
{
	Display *myDisplay = (Display *)arg;
	while (1)
	{

		k_msleep(lv_task_handler());
	}
}
```

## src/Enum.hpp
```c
#pragma once

// #include "Axis.hpp"
#include <cstdint>
#include <string>

enum class ParameterCommand : uint8_t
{
	READ = 0x01,
	WRITE = 0x02,
	MESSAGE = 0x03
};

enum class AxisLabel : uint8_t
{
	X = 0x00,
	Y = 0x01,
	Z = 0x02,
	NUM_AXES
};

using ParameterContextRegister = uint8_t;

enum class AxisParameter // uint8_t
{
	ACCELERATION = 0x00,
	DECELERATION = 0x01,
	CURRENT_SPEED = 0x02,
	CURRENT_POSITION = 0x03,
	TARGET_POSITION = 0x04,
	TARGET_SPEED = 0x05,
	MIN_STOP = 0x06,
	MAX_STOP = 0x07,
	NUM_PARAMETERS
};

enum class ParameterContext : uint8_t
{
	AXIS = 0x00,
	MOVEMENT_MODE = 0x01,
};

// Define constants for the sizes
constexpr int numAxes = static_cast<int>(AxisLabel::NUM_AXES);
// constexpr int numParameters = static_cast<int>(AxisParameter::NUM_PARAMETERS);

// Define a 2D array to hold the values TODO this needs to be a dynamic size type so that we only send what's updated.

//  pair: axis, parameternumber    value: int32
// using Int32ParameterValue = int32_t;
// using AxisParameterValue = std::pair<AxisLabel, AxisParameter>;
// using AxisParameterTable = std::unordered_map<AxisParameterValue, Int32ParameterValue>;
// using AxisParameterTable = std::array<std::array<int32_t, numParameters>, numAxes>;

// template <typename ParameterKeyType, typename ParameterValueType>
// inline int32_t CommandParametersToInt(ParameterContext aParamContext, ParameterKeyType aParamKey, ParameterValueType aParameter)
// {

// 	int8_t parameterContext = (int8_t)aParamContext;
// 	int8_t axis = (int8_t)anAxisLabel;
// 	int8_t parameter = (int8_t
// }

inline std::string
AxisLabelToString(AxisLabel label)
{
	switch (label)
	{
	case AxisLabel::X:
		return "X";
	case AxisLabel::Y:
		return "NOT IMPLEMENTED";
	case AxisLabel::Z:
		return "Z";
	default:
		return "ERROR";
	}
}

inline AxisLabel AxisLabelFromString(const std::string &label)
{
	if (label == "X")
	{
		return AxisLabel::X;
	}
	else if (label == "Y")
	{
		return AxisLabel::Y;
	}
	else if (label == "Z")
	{
		return AxisLabel::Z;
	}
	else
	{
		return AxisLabel::NUM_AXES;
	}
}

enum class AxisMode
{
	STOPPED,
	AUTOMATIC,
	ONE_SHOT,
	MANUAL,
	ERROR
};

inline AxisMode AxisModeFromString(const std::string &aMode)
{
	if (aMode == "S")
	{
		return AxisMode::STOPPED;
	}
	else if (aMode == "A")
	{
		return AxisMode::AUTOMATIC;
	}
	else if (aMode == "O")
	{
		return AxisMode::ONE_SHOT;
	}
	else if (aMode == "M")
	{
		return AxisMode::MANUAL;
	}
	else if (aMode == "E")
	{
		return AxisMode::ERROR;
	}
	else
	{
		return AxisMode::ERROR;
	}
}

inline std::string AxisModeToString(AxisMode aMode)
{
	switch (aMode)
	{
	case AxisMode::STOPPED:
		return "STOPPED";
	case AxisMode::AUTOMATIC:
		return "AUTOMATIC";
	case AxisMode::ONE_SHOT:
		return "ONE_SHOT";
	case AxisMode::MANUAL:
		return "MANUAL";
	case AxisMode::ERROR:
		return "ERROR";
	default:
		return "UNKNOWN";
	}
}

/**
 * @brief Enum class for the type of Z travel moves
 * AT_BOTH_ENDS = move the Z axis when the X axis has stopped at either end of it's travel
 * AT_LEFT = move the Z axis when the X axis has stopped at the left end of it's travel
 * AT_RIGHT = move the Z axis when the X axis has stopped at the right end of it's travel
 * MANUAL = no automatic movement, move only via MPG
 * CONSTANT = move the Z axis at a constant rate, not tied to the X travel position
 */
enum class AdvanceZType
{
	AT_BOTH_ENDS,
	AT_LEFT,
	AT_RIGHT,
	MANUAL,
	CONSTANT
};

/**
 * @brief Enum class for the type of Z travel moves
 * NO_REPEAT = do not repeat the Z travel, go from the starting position to the ending position and stop
 * REVERSE = repeat the Z travel in the opposite direction once it has reached the end position
 * START_AT_SAME_POSITION = when the Z travel reaches the end position, stop the X axis according to the AdvanceZType,
 * move Z back to the start position, and repeat the Z advance according to the AdvanceZType
 */
enum class RepeatZType
{
	NO_REPEAT,
	REVERSE,
	START_AT_SAME_POSITION
};

enum class MotionState
{
	AUTOMATIC,
	STOPPED
};

enum class Unit
{
	STEPS,
	MM,
	INCH
};

#include <FreeRTOS.h>
#include <task.h>
class Controller
{
public:
	virtual AxisMode GetMode(AxisLabel anAxisLabel) = 0;
	virtual bool SetMode(AxisLabel anAxisLabel, AxisMode aMode) = 0;
	virtual TaskHandle_t GetTaskHandle(AxisLabel anAxisLabel) = 0;
};
```

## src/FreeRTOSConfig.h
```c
/*
 * FreeRTOS V202107.00
 * Copyright (C) 2020 Amazon.com, Inc. or its affiliates.  All Rights Reserved.
 *
 * Permission is hereby granted, free of charge, to any person obtaining a copy of
 * this software and associated documentation files (the "Software"), to deal in
 * the Software without restriction, including without limitation the rights to
 * use, copy, modify, merge, publish, distribute, sublicense, and/or sell copies of
 * the Software, and to permit persons to whom the Software is furnished to do so,
 * subject to the following conditions:
 *
 * The above copyright notice and this permission notice shall be included in all
 * copies or substantial portions of the Software.
 *
 * THE SOFTWARE IS PROVIDED "AS IS", WITHOUT WARRANTY OF ANY KIND, EXPRESS OR
 * IMPLIED, INCLUDING BUT NOT LIMITED TO THE WARRANTIES OF MERCHANTABILITY, FITNESS
 * FOR A PARTICULAR PURPOSE AND NONINFRINGEMENT. IN NO EVENT SHALL THE AUTHORS OR
 * COPYRIGHT HOLDERS BE LIABLE FOR ANY CLAIM, DAMAGES OR OTHER LIABILITY, WHETHER
 * IN AN ACTION OF CONTRACT, TORT OR OTHERWISE, ARISING FROM, OUT OF OR IN
 * CONNECTION WITH THE SOFTWARE OR THE USE OR OTHER DEALINGS IN THE SOFTWARE.
 *
 * http://www.FreeRTOS.org
 * http://aws.amazon.com/freertos
 *
 * 1 tab == 4 spaces!
 */

#ifndef FREERTOS_CONFIG_H
#define FREERTOS_CONFIG_H

// #include <hardware/timer.h>

/*#pragma GCC diagnostic ignored "-Wmissing-parameter-type"
#pragma GCC diagnostic ignored "-Wimplicit-function-declaration"*/

/*-----------------------------------------------------------
 * Application specific definitions.
 *
 * These definitions should be adjusted for your particular hardware and
 * application requirements.
 *
 * THESE PARAMETERS ARE DESCRIBED WITHIN THE 'CONFIGURATION' SECTION OF THE
 * FreeRTOS API DOCUMENTATION AVAILABLE ON THE FreeRTOS.org WEB SITE.
 *
 * See http://www.freertos.org/a00110.html
 *----------------------------------------------------------*/

/* Scheduler Related */
#define configUSE_PREEMPTION 1
#define configUSE_TICKLESS_IDLE 0
#define configUSE_IDLE_HOOK 0
#define configUSE_TICK_HOOK 0
#define configTICK_RATE_HZ ((TickType_t)1000) //((TickType_t)1000)
#define configMAX_PRIORITIES 32
#define configMINIMAL_STACK_SIZE (configSTACK_DEPTH_TYPE)1024
#define configUSE_16_BIT_TICKS 0

#define configIDLE_SHOULD_YIELD 1

/* Synchronization Related */
#define configUSE_MUTEXES 1
#define configUSE_RECURSIVE_MUTEXES 1
#define configUSE_APPLICATION_TASK_TAG 0
#define configUSE_COUNTING_SEMAPHORES 1
#define configQUEUE_REGISTRY_SIZE 8
#define configUSE_QUEUE_SETS 1
#define configUSE_TIME_SLICING 1
#define configUSE_NEWLIB_REENTRANT 0
#define configENABLE_BACKWARD_COMPATIBILITY 0
#define configNUM_THREAD_LOCAL_STORAGE_POINTERS 5

/* System */
#define configSTACK_DEPTH_TYPE uint32_t
#define configMESSAGE_BUFFER_LENGTH_TYPE size_t

/* Memory allocation related definitions. */
#define configSUPPORT_STATIC_ALLOCATION 0
#define configSUPPORT_DYNAMIC_ALLOCATION 1
#define configTOTAL_HEAP_SIZE (64 * 1024 * 2)
#define configAPPLICATION_ALLOCATED_HEAP 0
#define configENABLE_HEAP_PROTECTOR 1

/* Hook function related definitions. */
#define configCHECK_FOR_STACK_OVERFLOW 2
#define configUSE_MALLOC_FAILED_HOOK 1
#define configUSE_DAEMON_TASK_STARTUP_HOOK 0

/* Run time and task stats gathering related definitions. */
#define configGENERATE_RUN_TIME_STATS 0
#define configUSE_TRACE_FACILITY 1
#define configUSE_STATS_FORMATTING_FUNCTIONS 1

/* Co-routine related definitions. */
#define configUSE_CO_ROUTINES 0
#define configMAX_CO_ROUTINE_PRIORITIES 1

/* Software timer related definitions. */
#define configUSE_TIMERS 1
#define configTIMER_TASK_PRIORITY (configMAX_PRIORITIES - 1)
#define configTIMER_QUEUE_LENGTH 10
#define configTIMER_TASK_STACK_DEPTH 1024

/* Interrupt nesting behaviour configuration. */
/*
#define configKERNEL_INTERRUPT_PRIORITY         [dependent of processor]
#define configMAX_SYSCALL_INTERRUPT_PRIORITY    [dependent on processor and application]
#define configMAX_API_CALL_INTERRUPT_PRIORITY   [dependent on processor and application]
*/

/* SMP port only */
#define configNUM_CORES 2
#define configTICK_CORE 1
#define configRUN_MULTIPLE_PRIORITIES 1

extern void TaskStatsTaskSwitchedIn(void);
extern void TaskStatsTaskSwitchedOut(void);

#define traceTASK_SWITCHED_IN() TaskStatsTaskSwitchedIn()
#define traceTASK_SWITCHED_OUT() TaskStatsTaskSwitchedOut()

/* RP2040 specific */
#define configSUPPORT_PICO_SYNC_INTEROP 1
#define configSUPPORT_PICO_TIME_INTEROP 1

/* Define to trap errors during development. */
#define configASSERT(x) hard_assert(x)

/* Set the following definitions to 1 to include the API function, or zero
to exclude the API function. */
#define INCLUDE_vTaskPrioritySet 1
#define INCLUDE_uxTaskPriorityGet 1
#define INCLUDE_vTaskDelete 1
#define INCLUDE_vTaskSuspend 1
#define INCLUDE_vTaskDelayUntil 1
#define INCLUDE_vTaskDelay 1
#define INCLUDE_xTaskGetSchedulerState 1
#define INCLUDE_xTaskGetCurrentTaskHandle 1
#define INCLUDE_uxTaskGetStackHighWaterMark 1
#define INCLUDE_xTaskGetIdleTaskHandle 1
#define INCLUDE_eTaskGetState 1
#define INCLUDE_xTimerPendFunctionCall 1
#define INCLUDE_xTaskAbortDelay 1
#define INCLUDE_xTaskGetHandle 1
#define INCLUDE_xTaskResumeFromISR 1
#define INCLUDE_xQueueGetMutexHolder 1

/* A header file that defines trace macro can be included here. */

// #define portCONFIGURE_TIMER_FOR_RUN_TIME_STATS()
// extern uint64_t time_us_64(void);														  // "hardware/timer.h"
// #define RUN_TIME_STAT_time_us_64Divider 1000											  // stat granularity is mS
// #define portGET_RUN_TIME_COUNTER_VALUE() (time_us_64() / RUN_TIME_STAT_time_us_64Divider) // runtime counter in mS

#endif /* FREERTOS_CONFIG_H */
```

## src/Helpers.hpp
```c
#pragma once

inline double ScaleValue(double value, double minOld, double maxOld, double minNew, double maxNew)
{
	return (value - minOld) / (maxOld - minOld) * (maxNew - minNew) + minNew;
}

template <typename T>
T abs(T value)
{
	return static_cast<T>(value < 0 ? -value : value);
}

template <typename T, typename T2>
T min(T a, T2 b)
{
	return static_cast<T>(a < b ? a : b);
}

#define MS_TO_TICKS(ms) (ms * configTICK_RATE_HZ / 1000)
```
